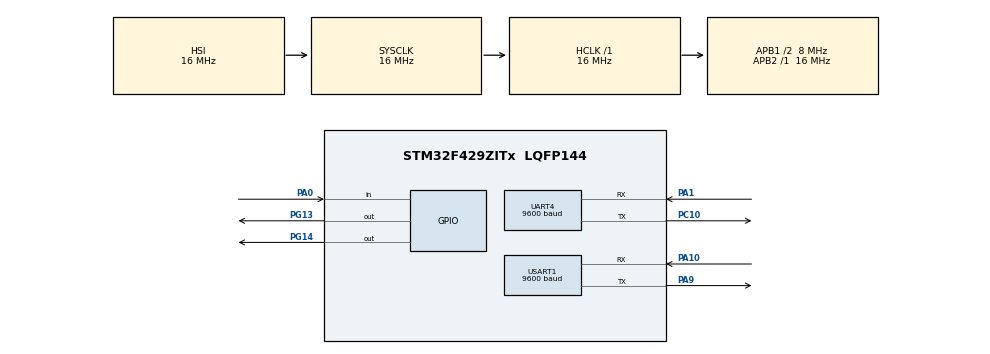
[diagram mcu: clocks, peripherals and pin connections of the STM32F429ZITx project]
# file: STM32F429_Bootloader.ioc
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Mcu.Family=STM32F4
Mcu.Name=STM32F429ZITx
Mcu.Package=LQFP144
NVIC.PriorityGroup=NVIC_PRIORITYGROUP_4
PA0/WKUP.Signal=GPIO_Input
PA1.Mode=Asynchronous
PA1.Signal=UART4_RX
PA10.Mode=Asynchronous
PA10.Signal=USART1_RX
PA9.Mode=Asynchronous
PA9.Signal=USART1_TX
PC10.Mode=Asynchronous
PC10.Signal=UART4_TX
PG13.Signal=GPIO_Output
PG14.Signal=GPIO_Output
ProjectManager.HeapSize=0x200
ProjectManager.StackSize=0x400
ProjectManager.TargetToolchain=STM32CubeIDE
RCC.48MHZClocksFreq_Value=96000000
RCC.AHBFreq_Value=16000000
RCC.APB1CLKDivider=RCC_HCLK_DIV2
RCC.APB1Freq_Value=8000000
RCC.APB1TimFreq_Value=16000000
RCC.APB2Freq_Value=16000000
RCC.APB2TimFreq_Value=16000000
RCC.CortexFreq_Value=16000000
RCC.HCLKFreq_Value=16000000
RCC.HSE_VALUE=8000000
RCC.HSI_VALUE=16000000
RCC.LSE_VALUE=32768
RCC.PLLM=4
RCC.PLLN=72
RCC.PLLQ=3
RCC.PLLSAIN=50
RCC.SYSCLKFreq_VALUE=16000000
RCC.VCOOutputFreq_Value=288000000
UART4.BaudRate=9600
UART4.VirtualMode=Asynchronous
USART1.BaudRate=9600
USART1.VirtualMode=VM_ASYNC
VP_CRC_VS_CRC.Mode=CRC_Activate
board=STM32F429I-DISC1

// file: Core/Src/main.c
/* USER CODE BEGIN Header */
/**
 ******************************************************************************
 * @file           : main.c
 * @brief          : Main program body
 ******************************************************************************
 * @attention
 *
 * Copyright (c) 2024 STMicroelectronics.
 * All rights reserved.
 *
 * This software is licensed under terms that can be found in the LICENSE file
 * in the root directory of this software component.
 * If no LICENSE file comes with this software, it is provided AS-IS.
 *
 ******************************************************************************
 */
/* USER CODE END Header */
#include "main.h"

/* USER CODE BEGIN Includes */
#include <stdio.h>
#include <string.h>
#include "bootloader.h"
/* USER CODE END Includes */

/* USER CODE BEGIN PD */
#define PUTCHAR_PROTOTYPE int __io_putchar(int ch)

#define BUTTON_PORT				GPIOA
#define BUTTON_PIN				GPIO_PIN_0

#define GREEN_PORT				GPIOG
#define GREEN_PIN				GPIO_PIN_13

#define RED_PORT				GPIOG
#define RED_PIN					GPIO_PIN_14

/* USER CODE END PD */

CRC_HandleTypeDef hcrc;

UART_HandleTypeDef huart4;
UART_HandleTypeDef huart1;

/* USER CODE BEGIN PV */
#define DEBUG_UART			&huart4
#define COMMAND_UART		&huart1
/* USER CODE END PV */

void SystemClock_Config(void);
static void MX_GPIO_Init(void);
static void MX_USART1_UART_Init(void);
static void MX_CRC_Init(void);
static void MX_UART4_Init(void);
/* USER CODE BEGIN PFP */
static void Bootloader_JumpUserApp(void);
static void Bootloader_ReadUartData(void);
/* USER CODE END PFP */

/* USER CODE BEGIN 0 */
#define RX_BUFFER_LEN		200
uint8_t bl_rx_buffer[RX_BUFFER_LEN];
uint8_t rcv_len = 0;
/* USER CODE END 0 */

int main(void) {

	/* MCU Configuration--------------------------------------------------------*/

	/* Reset of all peripherals, Initializes the Flash interface and the Systick. */
	HAL_Init();

	/* Configure the system clock */
	SystemClock_Config();

	/* Initialize all configured peripherals */
	MX_GPIO_Init();
	MX_USART1_UART_Init();
	MX_CRC_Init();
	MX_UART4_Init();
	/* USER CODE BEGIN 2 */

	launch_bootloader_banner();

	/* USER CODE END 2 */
	if (HAL_GPIO_ReadPin(BUTTON_PORT, BUTTON_PIN) == GPIO_PIN_SET) {
		PRINT_DEBUG(
				"		>> BL_DEBUG_MSG : Button is pressed ... going to bootloader mode.\r\n");
		PRINT_DEBUG("		>> BL_DEBUG_MSG : Entering Bootloader Mode.\r\n");
		Bootloader_ReadUartData();

	} else {
		PRINT_DEBUG(
				"		>> BL_DEBUG_MSG : Button is not pressed ... jumping to user application.\r\n");
		   //Green LED ON
		Bootloader_JumpUserApp();

	}
	/* Infinite loop */
	while (1) {

	}
}

void SystemClock_Config(void) {
	RCC_OscInitTypeDef RCC_OscInitStruct = { 0 };
	RCC_ClkInitTypeDef RCC_ClkInitStruct = { 0 };

	/** Configure the main internal regulator output voltage
	 */
	__HAL_RCC_PWR_CLK_ENABLE();
	__HAL_PWR_VOLTAGESCALING_CONFIG(PWR_REGULATOR_VOLTAGE_SCALE3);

	/** Initializes the RCC Oscillators according to the specified parameters
	 * in the RCC_OscInitTypeDef structure.
	 */
	RCC_OscInitStruct.OscillatorType = RCC_OSCILLATORTYPE_HSI;
	RCC_OscInitStruct.HSIState = RCC_HSI_ON;
	RCC_OscInitStruct.HSICalibrationValue = RCC_HSICALIBRATION_DEFAULT;
	RCC_OscInitStruct.PLL.PLLState = RCC_PLL_NONE;
	if (HAL_RCC_OscConfig(&RCC_OscInitStruct) != HAL_OK) {
		Error_Handler();
	}

	/** Initializes the CPU, AHB and APB buses clocks
	 */
	RCC_ClkInitStruct.ClockType = RCC_CLOCKTYPE_HCLK | RCC_CLOCKTYPE_SYSCLK
			| RCC_CLOCKTYPE_PCLK1 | RCC_CLOCKTYPE_PCLK2;
	RCC_ClkInitStruct.SYSCLKSource = RCC_SYSCLKSOURCE_HSI;
	RCC_ClkInitStruct.AHBCLKDivider = RCC_SYSCLK_DIV1;
	RCC_ClkInitStruct.APB1CLKDivider = RCC_HCLK_DIV2;
	RCC_ClkInitStruct.APB2CLKDivider = RCC_HCLK_DIV1;

	if (HAL_RCC_ClockConfig(&RCC_ClkInitStruct, FLASH_LATENCY_0) != HAL_OK) {
		Error_Handler();
	}
}

static void MX_CRC_Init(void) {

	hcrc.Instance = CRC;
	if (HAL_CRC_Init(&hcrc) != HAL_OK) {
		Error_Handler();
	}

}

static void MX_UART4_Init(void) {

	huart4.Instance = UART4;
	huart4.Init.BaudRate = 9600;
	huart4.Init.WordLength = UART_WORDLENGTH_8B;
	huart4.Init.StopBits = UART_STOPBITS_1;
	huart4.Init.Parity = UART_PARITY_NONE;
	huart4.Init.Mode = UART_MODE_TX_RX;
	huart4.Init.HwFlowCtl = UART_HWCONTROL_NONE;
	huart4.Init.OverSampling = UART_OVERSAMPLING_16;
	if (HAL_UART_Init(&huart4) != HAL_OK) {
		Error_Handler();
	}

}

static void MX_USART1_UART_Init(void) {

	huart1.Instance = USART1;
	huart1.Init.BaudRate = 115200;
	huart1.Init.WordLength = UART_WORDLENGTH_8B;
	huart1.Init.StopBits = UART_STOPBITS_1;
	huart1.Init.Parity = UART_PARITY_NONE;
	huart1.Init.Mode = UART_MODE_TX_RX;
	huart1.Init.HwFlowCtl = UART_HWCONTROL_NONE;
	huart1.Init.OverSampling = UART_OVERSAMPLING_16;
	if (HAL_UART_Init(&huart1) != HAL_OK) {
		Error_Handler();
	}

}

static void MX_GPIO_Init(void) {
	GPIO_InitTypeDef GPIO_InitStruct = { 0 };

	/* GPIO Ports Clock Enable */
	__HAL_RCC_GPIOA_CLK_ENABLE();
	__HAL_RCC_GPIOC_CLK_ENABLE();
	__HAL_RCC_GPIOG_CLK_ENABLE();

	/*Configure GPIO pin Output Level */
	HAL_GPIO_WritePin(GPIOG, GPIO_PIN_13 | GPIO_PIN_14, GPIO_PIN_RESET);

	/*Configure GPIO pin : PA0 */
	GPIO_InitStruct.Pin = GPIO_PIN_0;
	GPIO_InitStruct.Mode = GPIO_MODE_INPUT;
	GPIO_InitStruct.Pull = GPIO_NOPULL;
	HAL_GPIO_Init(GPIOA, &GPIO_InitStruct);

	/*Configure GPIO pins : PG13 PG14 */
	GPIO_InitStruct.Pin = GPIO_PIN_13 | GPIO_PIN_14;
	GPIO_InitStruct.Mode = GPIO_MODE_OUTPUT_PP;
	GPIO_InitStruct.Pull = GPIO_NOPULL;
	GPIO_InitStruct.Speed = GPIO_SPEED_FREQ_LOW;
	HAL_GPIO_Init(GPIOG, &GPIO_InitStruct);

}

/* USER CODE BEGIN 4 */
PUTCHAR_PROTOTYPE {
	/* Place your implementation of fputc here */
	/* e.g. write a character to the USART1 and Loop until the end of transmission */
	HAL_UART_Transmit(DEBUG_UART, (uint8_t*) &ch, 1, 0xFFFF);

	return ch;
}

static void Bootloader_JumpUserApp(void) {

	uint32_t msp_value;
	uint32_t reset_handler_addr;
	PRINT_DEBUG("		>> BL_DEBUG_MSG : Attempting to jump to user application ...\r\n");

	msp_value = *((volatile uint32_t*) (APP_BASE_ADDR));
	reset_handler_addr = *((volatile uint32_t*) (APP_BASE_ADDR + 4U));
	void (*app_reset_handler)(void) = (void*)(reset_handler_addr);

	if (!is_valid_app_present(APP_BASE_ADDR)) {
		PRINT_DEBUG(
				"		>> BL_DEBUG_MSG : No valid application found. Aborting jump.\r\n");
		return;
	}

	PRINT_DEBUG("		>> BL_DEBUG_MSG : MSP Value : 0x%08lx\r\n", msp_value);
	PRINT_DEBUG("		>> BL_DEBUG_MSG : Application reset handler address : 0x%08lx\r\n",reset_handler_addr);

	SCB->VTOR = APP_BASE_ADDR;

	PRINT_DEBUG("		>> BL_DEBUG_MSG : VTOR set to 0x%08lx\r\n", SCB->VTOR);

	if (SCB->VTOR != APP_BASE_ADDR) {
		PRINT_DEBUG("		>> BL_DEBUG_MSG : Failed to set VTOR. Aborting jump.\r\n");
		return;
	}

	/* Reset the Clock */
	HAL_RCC_DeInit();
	HAL_DeInit();
	__set_MSP(*(volatile uint32_t*) APP_BASE_ADDR);
	SysTick->CTRL = 0;
	SysTick->LOAD = 0;
	SysTick->VAL = 0;
	/* Jump to application */
	app_reset_handler();    //call the app reset handler

	// Should never reach here
	while (1) {
		PRINT_DEBUG("		>> BL_DEBUG_MSG : ERROR - Unexpected return from application\r\n");
		HAL_Delay(1000);
	}
}

void Bootloader_ReadUartData() {
	while(1)
	{

		HAL_GPIO_WritePin(GPIOG, GPIO_PIN_14, GPIO_PIN_SET);
		HAL_Delay(300);
		HAL_GPIO_WritePin(GPIOG, GPIO_PIN_14, GPIO_PIN_RESET);
		HAL_Delay(300);
		HAL_GPIO_WritePin(GPIOG, GPIO_PIN_14, GPIO_PIN_SET);

		memset(bl_rx_buffer,0,200);
		HAL_UART_Receive(COMMAND_UART,bl_rx_buffer,1,HAL_MAX_DELAY);
		rcv_len = bl_rx_buffer[0];
		HAL_UART_Receive(COMMAND_UART,&bl_rx_buffer[1],rcv_len,HAL_MAX_DELAY);

		switch(bl_rx_buffer[1]){
			case BL_GET_VER:
				bootloader_handle_getver_cmd(bl_rx_buffer);
				break;
			case BL_GET_HELP:
				bootloader_handle_gethelp_cmd(bl_rx_buffer);
				break;
			case BL_GET_CID:
				bootloader_handle_getcid_cmd(bl_rx_buffer);
				break;
			case BL_GET_RDP_STATUS:
				bootloader_handle_getrdp_cmd(bl_rx_buffer);
				break;
			case BL_GO_TO_ADDR:
				bootloader_handle_goaddr_cmd(bl_rx_buffer);
				break;
			case BL_FLASH_ERASE:
				bootloader_handle_eraseflash_cmd(bl_rx_buffer);
				break;
			case BL_MEM_WRITE:
				bootloader_handle_memwrite_cmd(bl_rx_buffer);
				break;
			case BL_EN_R_W_PROTECT:
				bootloader_handle_enrwprotect_cmd(bl_rx_buffer);
				break;
			case BL_READ_SECTOR_STATUS:
				bootloader_handle_readsector_protection_cmd(bl_rx_buffer);
				break;
			case BL_DIS_R_W_PROTECT:
				bootloader_handle_disrwprotect_cmd(bl_rx_buffer);
				break;
			default :
				PRINT_DEBUG("		>> BL_DEBUG_MSG : Unsupported command.\r\n");
				break;

		}

	}

}

/* USER CODE END 4 */

void Error_Handler(void) {
	__disable_irq();
	while (1) {
	}
}
